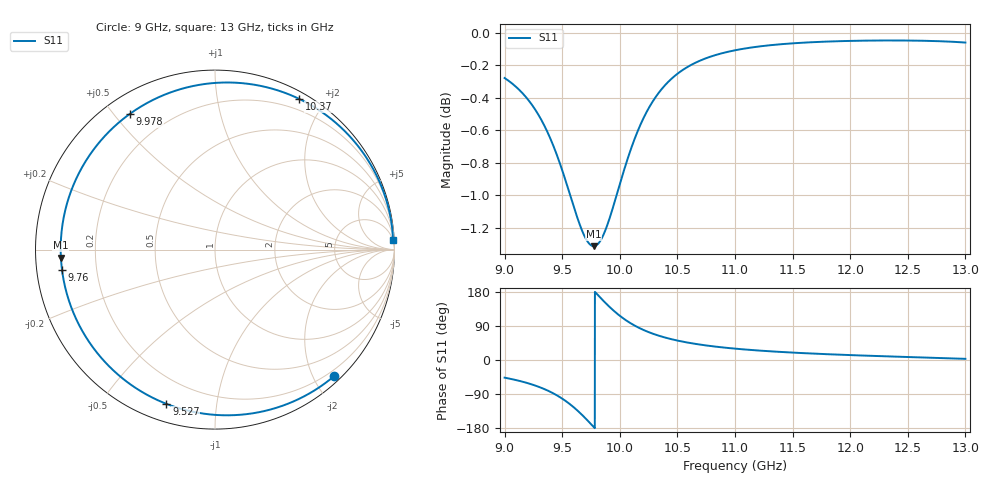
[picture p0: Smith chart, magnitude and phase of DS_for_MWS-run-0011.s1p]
! TOUCHSTONE file generated by CST DESIGN STUDIO
! Date and time: Wed Feb  5 13:39:21 2025
! Project name: C:\Work\MatlabApps\UnitCellOptimizationMatlab\CST\unitcell.cst
! Tree item: Tasks\Sweep1\SPara1\S-Parameters
! Header version: 2024
! Port assignment regex: !\s*Touchstone port\s*([0-9]+)\s*=\s*(CST MWS port|CST DES external port|CST DES block port)\s*(.+)\s* \(\"(.*)\"\)(\s*mode\s*([0-9]+))?.*
! Touchstone port assignment:
! Touchstone port 1 = CST DES external port 1 ("")
# GHz S MA R 50
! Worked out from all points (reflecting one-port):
!   4001 points, 9 GHz to 13 GHz, reference 50 ohm
!   lowest |S11| = -1.3 dB at 9.774 GHz (marker M1), VSWR 13.25, Z = 3.78 - j1.32 ohm
!   phase of S11 starts at -47 deg and turns -310 deg over the sweep
!   S11 on the Smith chart (normalised r, x): 9 GHz: 0.10, -2.32; 9.527 GHz: 0.08, -0.73; 9.76 GHz: 0.08, -0.07; 9.978 GHz: 0.07, +0.55; 10.37 GHz: 0.08, +1.70; 13 GHz: 5, +37
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9  0.9684 -46.6
9.143  0.959 -56.2
9.273  0.9461 -68.2
9.387  0.9295 -82.5
9.447  0.9184 -92.1
9.5  0.9072 -101.9
9.527  0.9011 -107.5
9.585  0.8876 -120.9
9.64  0.8754 -135.5
9.704  0.8644 -154.5
9.76  0.8599 -172.4
9.774  0.8597 -176.9
9.818  0.8617 168.7
9.864  0.8676 154.1
9.922  0.8792 136.9
9.978  0.8927 122.0
10  0.8982 116.7
10.068  0.9146 101.9
10.146  0.9309 88.1
10.255  0.9485 73.0
10.374  0.9618 60.9
10.5  0.9713 51.3
10.717  0.981 39.8
11  0.9876 30.0
11.5  0.9924 19.5
12  0.9942 12.9
12.5  0.9944 7.9
13  0.993 3.1
